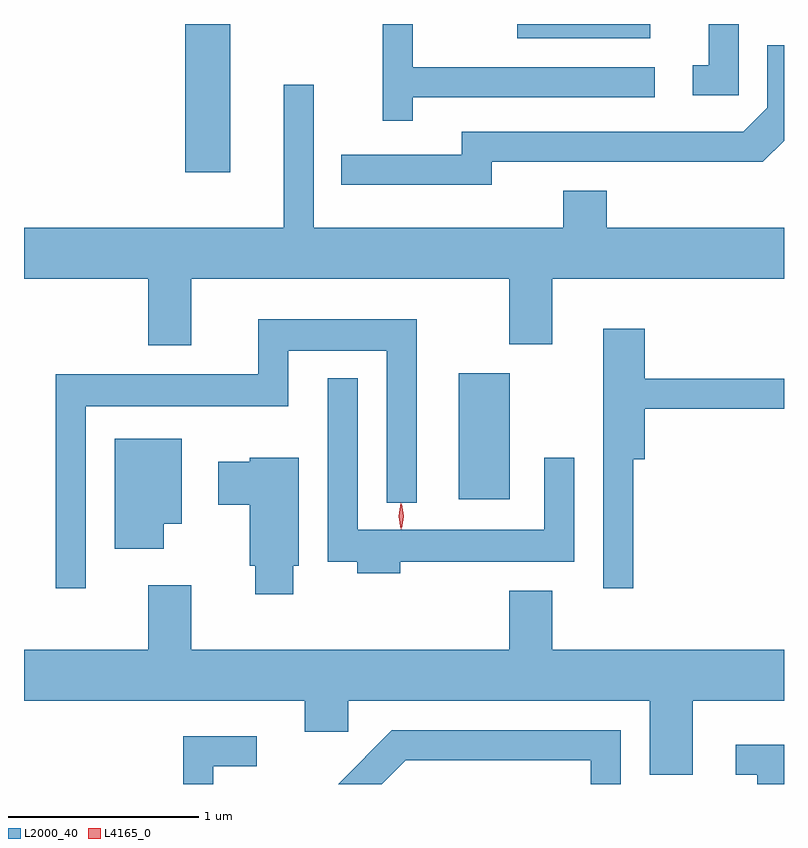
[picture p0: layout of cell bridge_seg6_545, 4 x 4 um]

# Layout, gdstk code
import gdstk
lib = gdstk.Library(unit=1e-6, precision=1e-09)
def R(c, l, rs):  # rectangles x0, y0, x1, y1
    for r in rs: c.add(gdstk.rectangle(r[:2], r[2:], *l))
def P(c, l, *ps):  # polygons
    for p in ps: c.add(gdstk.Polygon(p, *l))
L2000_40 = (2000, 40)
L4165_0 = (4165, 0)

bridge_seg6_545 = lib.new_cell('bridge_seg6_545')
R(bridge_seg6_545, L2000_40, [(440.216,1664.316,440.484,1664.979), (438.776,1666.036,439.014,1666.817), (440.523,1666.741,441.224,1666.817)])
P(bridge_seg6_545, L2000_40, [(441.689,1666.817),(441.531,1666.817),(441.531,1666.599),(441.448,1666.599),(441.448,1666.441),(441.689,1666.441)],
  [(439.974,1666.431),(441.248,1666.431),(441.248,1666.589),(439.974,1666.589),(439.974,1666.817),(439.816,1666.817),(439.816,1666.308),(439.974,1666.308)],
  [(440.389,1666.091),(441.817,1666.091),(441.928,1666.203),(441.928,1666.704),(441.841,1666.704),(441.841,1666.377),(441.714,1666.249),(440.231,1666.249),(440.231,1666.129),(439.598,1666.129),(439.598,1665.971),(440.389,1665.971)],
  [(438.809,1665.476),(440.481,1665.476),(440.481,1665.131),(440.709,1665.131),(440.709,1665.476),(441.928,1665.476),(441.928,1665.744),(440.994,1665.744),(440.994,1665.939),(440.766,1665.939),(440.766,1665.744),(439.454,1665.744),(439.454,1666.498),(439.296,1666.498),(439.296,1665.744),(437.928,1665.744),(437.928,1665.476),(438.581,1665.476),(438.581,1665.126),(438.809,1665.126)],
  [(438.254,1664.806),(439.319,1664.806),(439.319,1665.096),(439.836,1665.096),(439.836,1664.298),(439.994,1664.298),(439.994,1665.264),(439.161,1665.264),(439.161,1664.974),(438.096,1664.974),(438.096,1663.848),(438.254,1663.848)],
  [(441.134,1664.526),(441.194,1664.526),(441.194,1664.791),(441.928,1664.791),(441.928,1664.949),(441.194,1664.949),(441.194,1665.214),(440.976,1665.214),(440.976,1663.848),(441.134,1663.848)],
  [(439.909,1663.986),(440.824,1663.986),(440.824,1664.533),(440.666,1664.533),(440.666,1664.154),(439.684,1664.154),(439.684,1664.953),(439.526,1664.953),(439.526,1663.986),(439.681,1663.986),(439.681,1663.926),(439.909,1663.926)],
  [(438.664,1664.186),(438.759,1664.186),(438.759,1664.634),(438.406,1664.634),(438.406,1664.056),(438.664,1664.056)],
  [(439.344,1663.966),(439.374,1663.966),(439.374,1664.534),(439.116,1664.534),(439.116,1664.514),(438.951,1664.514),(438.951,1664.286),(439.116,1664.286),(439.116,1663.966),(439.146,1663.966),(439.146,1663.816),(439.344,1663.816)],
  [(441.449,1663.256),(441.928,1663.256),(441.928,1663.524),(440.709,1663.524),(440.709,1663.834),(440.481,1663.834),(440.481,1663.524),(438.809,1663.524),(438.809,1663.864),(438.581,1663.864),(438.581,1663.524),(437.928,1663.524),(437.928,1663.256),(439.406,1663.256),(439.406,1663.091),(439.634,1663.091),(439.634,1663.256),(441.221,1663.256),(441.221,1662.866),(441.449,1662.866)],
  [(439.937,1662.941),(440.911,1662.941),(440.911,1662.817),(441.069,1662.817),(441.069,1663.099),(439.864,1663.099),(439.581,1662.817),(439.812,1662.817)],
  [(438.924,1662.911),(439.153,1662.911),(439.153,1663.069),(438.766,1663.069),(438.766,1662.817),(438.924,1662.817)],
  [(441.928,1663.024),(441.673,1663.024),(441.673,1662.866),(441.786,1662.866),(441.786,1662.817),(441.928,1662.817)])
P(bridge_seg6_545, L4165_0, [(439.911,1664.157),(439.91,1664.158),(439.901,1664.227),(439.911,1664.296),(439.911,1664.296),(439.912,1664.296),(439.921,1664.227),(439.911,1664.158)],
  [(439.917,1664.159),(439.916,1664.16),(439.907,1664.226),(439.916,1664.293),(439.917,1664.293),(439.917,1664.293),(439.927,1664.226),(439.917,1664.16)])

lib.write_gds('bridge_seg6_545.gds')
